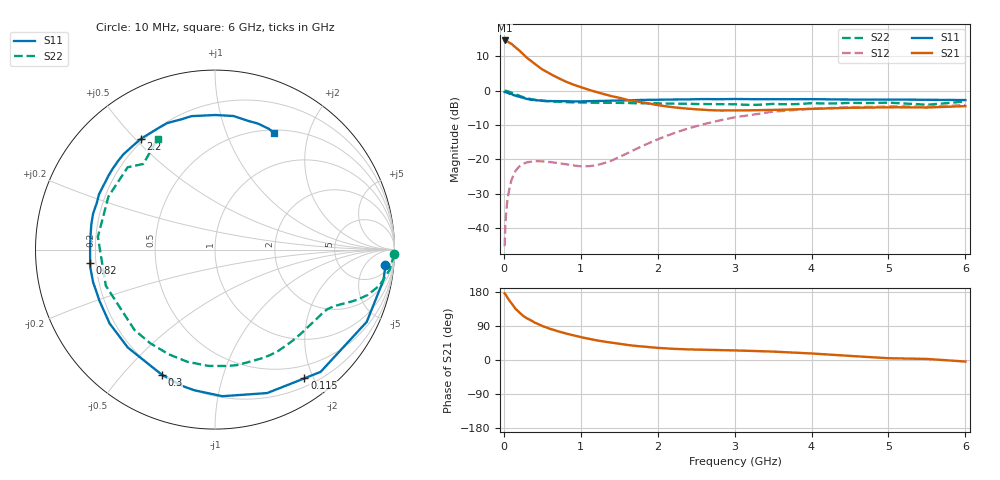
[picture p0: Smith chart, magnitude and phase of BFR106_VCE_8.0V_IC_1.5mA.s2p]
! Infineon Technologies  Discrete & RF Semiconductors
! BFR106
! VCE =  8.0 V,  IC =  1.5 mA
! Common Emitter S-Parameters:  Nov 2015
# GHz  S  MA  R  50
!  f  S11  S21  S12  S22
! GHz  MAG  ANG  MAG  ANG  MAG  ANG  MAG  ANG
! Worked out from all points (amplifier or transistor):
!   210 points, 10 MHz to 6 GHz, reference 50 ohm
!   highest |S21| = 14.6 dB at 10 MHz (marker M1)
!   |S21| within 3 dB of that: start of sweep to 204.7 MHz
!   unconditionally stable (mu >= 1): 822.3 MHz to 1.814 GHz; 3.625 GHz to end of sweep
!   at 185 MHz: K = 0.22, MSG = 17.3 dB, |S12| = -22.5 dB
!   at 1.52 GHz: K = 1.20, MAG = 5.8 dB, |S12| = -19.2 dB
!   at 6 GHz: K = 1.02, MAG = -1.0 dB, |S12| = -4.2 dB
!   S11 on the Smith chart (normalised r, x): 10 MHz: 9, -17; 115 MHz: 0.31, -1.87; 300 MHz: 0.20, -0.64; 820 MHz: 0.18, -0.05; 2.2 GHz: 0.19, +0.52; 6 GHz: 0.54, +1.49
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0.01  0.9535 -5.3  5.385 176.0  0.0054 89.2  0.9999 -1.4
0.02  0.9542 -10.2  5.357 173.5  0.0111 86.1  0.9936 -2.7
0.045  0.9345 -22.9  5.21 164.8  0.0243 76.7  0.9817 -5.9
0.1  0.9003 -49.2  4.822 149.2  0.0503 63.6  0.9385 -12.3
0.115  0.8735 -55.2  4.638 145.4  0.0551 59.6  0.9228 -13.5
0.15  0.8506 -70.0  4.299 135.5  0.0672 52.7  0.8879 -16.5
0.2  0.8179 -87.1  3.859 125.7  0.0784 45.3  0.8433 -19.3
0.24  0.7921 -98.3  3.488 118.5  0.084 40.1  0.8103 -21.0
0.3  0.7571 -113.1  3.012 109.9  0.09 34.8  0.7743 -22.9
0.4  0.7306 -131.7  2.455 98.8  0.094 28.4  0.7335 -25.5
0.5  0.717 -145.0  2.038 89.6  0.093 24.9  0.7088 -27.9
0.6  0.7042 -156.0  1.754 82.3  0.091 23.9  0.6953 -30.6
0.82  0.7 -173.7  1.333 69.3  0.084 27.3  0.6786 -37.1
1.02  0.698 173.1  1.104 59.5  0.0788 37.6  0.6701 -43.8
1.4  0.716 154.5  0.831 45.6  0.0954 64.4  0.6655 -58.0
2.02  0.7365 129.9  0.611 31.8  0.1988 76.2  0.651 -84.9
2.2  0.7428 123.8  0.571 29.5  0.237 74.7  0.649 -93.3
3.1  0.7521 98.0  0.514 24.7  0.4231 54.4  0.6242 -140.4
3.5  0.7499 89.9  0.523 22.2  0.4938 44.4  0.6407 -161.7
4.1  0.7485 80.9  0.545 15.9  0.5516 29.5  0.6512 169.7
5.1  0.7404 70.2  0.572 4.3  0.5865 10.9  0.6587 135.4
6  0.7278 63.0  0.594 -4.1  0.6156 -0.9  0.6954 117.4
